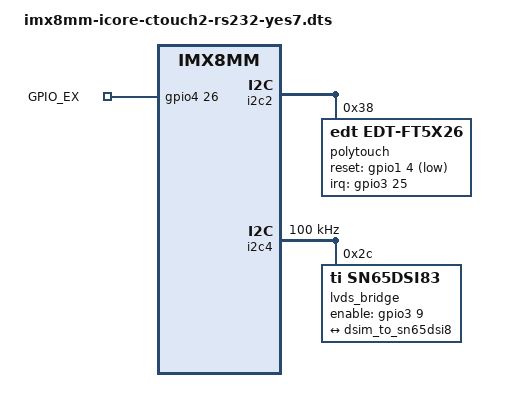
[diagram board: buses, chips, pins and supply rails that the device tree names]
/*
 * Copyright 2020 Engicam srl
 * Copyright 2018 NXP
 *
 * This program is free software; you can redistribute it and/or
 * modify it under the terms of the GNU General Public License
 * as published by the Free Software Foundation; either version 2
 * of the License, or (at your option) any later version.
 *
 * This program is distributed in the hope that it will be useful,
 * but WITHOUT ANY WARRANTY; without even the implied warranty of
 * MERCHANTABILITY or FITNESS FOR A PARTICULAR PURPOSE.  See the
 * GNU General Public License for more details.
 */

#include "imx8mm-icore-ctouch2-rs232.dts"
/ {
  gpio_export {
		compatible = "gpio-export";
		#size-cells = <0>;

    GPIO_EX {
      gpio-export,name = "GPIO_EX";
      gpio-export,output = <0>;
      gpios = <&gpio4 26 0>;  
    };
  };
};

&i2c2 {
	status = "okay";

	polytouch: edt-ft5x26@38 {
		compatible = "edt,edt-ft5x26";
		reg = <0x38>;
		pinctrl-names = "default";
		pinctrl-0 = <&edt_ft5x06_pins>;
		interrupt-parent = <&gpio3>;
		interrupts = <25 IRQ_TYPE_EDGE_FALLING>;
		reset-gpios= <&gpio1 4 GPIO_ACTIVE_LOW>;
	};
};

&i2c4 {
  clock-frequency = <100000>;
  pinctrl-names = "default";
  pinctrl-0 = <&pinctrl_i2c4>;
  status = "okay";

  lvds_bridge: sn65dsi83@2c {
    compatible = "ti,sn65dsi83";
    reg = <0x2c>;
    ti,dsi-lanes = <2>;
    ti,lvds-format = <2>;
    ti,lvds-bpp = <24>;
    ti,lvds-channels = <1>;
    ti,width-mm = <149>;
    ti,height-mm = <93>;
    enable-gpios = <&gpio3 9  GPIO_ACTIVE_HIGH>;
    pinctrl-names = "default";
    pinctrl-0 = <&pinctrl_dsi_lvds_bridge>;
    status = "okay";

    display-timings {
        native-mode = <&timing1>;
        timing1: hsd100pxn1 {
        clock-frequency = <50000000>;
        hactive = <1024>;
        vactive = <600>;
        hback-porch = <60>;
        hfront-porch = <50>;
        vback-porch = <2>;
        vfront-porch = <3>;
        hsync-len = <20>;
        vsync-len = <1>;
        hsync-active = <0>;
        vsync-active = <0>;
        de-active = <1>;
        pixelclk-active = <0>;
        };
    };

    port {
      sn65dsi83_in: endpoint {
        remote-endpoint = <&dsim_to_sn65dsi8>;
      };
    };
  };
};


&iomuxc {
	pinctrl-names = "default";

	icore-imx8mm {
    edt_ft5x06_pins: edt-ft5x06-pins-grp{
		  fsl,pins = <
        MX8MM_IOMUXC_SAI5_MCLK_GPIO3_IO25 0x19
        MX8MM_IOMUXC_GPIO1_IO04_GPIO1_IO4 0x19
		  >;
    };
		
    pinctrl_hog_1: hoggrp-1 {
      fsl,pins = <
        MX8MM_IOMUXC_SAI2_TXD0_GPIO4_IO26 0x19
      >;
    };
  };
};
